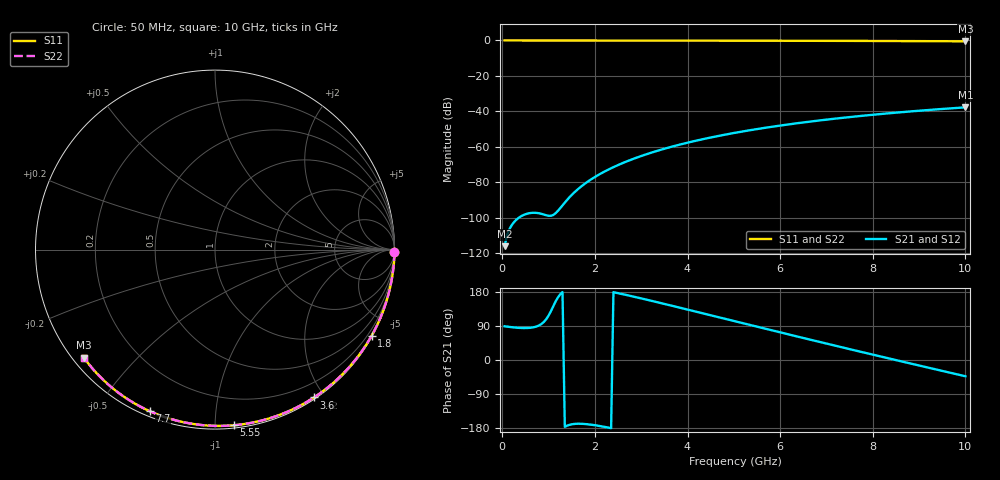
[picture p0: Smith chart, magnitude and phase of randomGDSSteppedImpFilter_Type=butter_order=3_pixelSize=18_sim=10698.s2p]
! freq	dB(S11)	phase(S11)	dB(S12)	phase(S12)
!  dB(S21)	phase(S21)	dB(S22)	phase(S22)
!S-par simulation data
#  GHz  S  DB  R 50
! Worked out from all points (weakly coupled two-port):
!   200 points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, 50 MHz to 10 GHz, reference 50 ohm
!   highest |S21| = -37.74 dB at 10 GHz (marker M1); lowest = -116.1 dB at 50 MHz (marker M2)
!   lowest |S11| = -0.5 dB at 10 GHz (marker M3), VSWR 36.49, Z = 1.55 - j18 ohm
!   |S11| at or under -10 dB: nowhere
!   |S22| runs from -0.5 to 0.0 dB; largest |S21 - S12| = 0
!   S11 on the Smith chart (normalised r, x): 50 MHz: open; 1.8 GHz: 0.03, -3.90; 3.6 GHz: 0.02, -1.87; 5.55 GHz: 0.02, -1.11; 7.7 GHz: 0.02, -0.68; 10 GHz: 0.03, -0.36
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0.05  -0.00 -0.8  -116.05 89.0  -116.05 89.0  -0.00 -0.8
0.45  -0.01 -7.3  -98.57 84.3  -98.57 84.3  -0.01 -7.3
0.9  -0.02 -14.5  -98.23 100.7  -98.23 100.7  -0.02 -14.5
1.75  -0.04 -28.0  -81.43 -168.6  -81.43 -168.6  -0.04 -28.0
1.8  -0.04 -28.8  -80.46 -169.1  -80.46 -169.1  -0.04 -28.8
1.85  -0.04 -29.6  -79.55 -169.7  -79.55 -169.7  -0.04 -29.6
2.05  -0.04 -32.7  -76.23 -173.1  -76.23 -173.1  -0.04 -32.7
2.25  -0.05 -35.8  -73.37 -177.4  -73.37 -177.4  -0.05 -35.8
2.55  -0.05 -40.4  -69.71 175.0  -69.71 175.0  -0.05 -40.4
2.95  -0.06 -46.5  -65.64 164.0  -65.64 164.0  -0.06 -46.5
3.4  -0.07 -53.2  -61.84 151.0  -61.84 151.0  -0.07 -53.2
3.6  -0.08 -56.2  -60.35 145.0  -60.35 145.0  -0.08 -56.2
3.9  -0.08 -60.6  -58.31 136.1  -58.31 136.1  -0.08 -60.6
4.3  -0.09 -66.4  -55.86 124.1  -55.86 124.1  -0.09 -66.4
5.05  -0.12 -76.9  -51.98 101.5  -51.98 101.5  -0.12 -76.9
5.55  -0.14 -83.8  -49.78 86.4  -49.78 86.4  -0.14 -83.8
6.1  -0.16 -91.2  -47.65 70.0  -47.65 70.0  -0.16 -91.2
6.7  -0.19 -99.1  -45.59 52.1  -45.59 52.1  -0.19 -99.1
7.7  -0.26 -111.9  -42.69 22.8  -42.69 22.8  -0.26 -111.9
8.35  -0.31 -120.1  -41.07 4.0  -41.07 4.0  -0.31 -120.0
9.2  -0.39 -130.6  -39.23 -20.3  -39.23 -20.3  -0.39 -130.6
10  -0.48 -140.4  -37.74 -42.9  -37.74 -42.9  -0.48 -140.4
